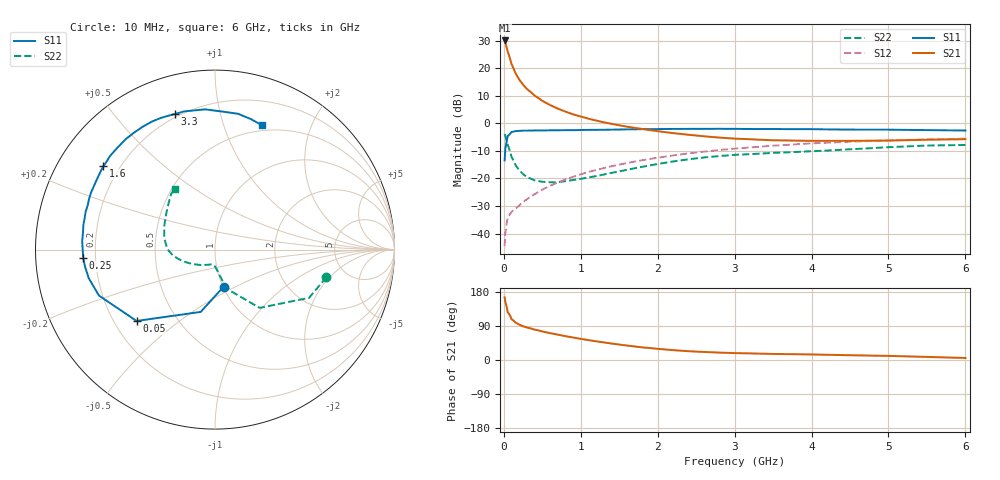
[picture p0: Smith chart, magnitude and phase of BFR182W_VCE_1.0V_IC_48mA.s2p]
! Infineon Technologies  Discrete & RF Semiconductors
! BFR182W
! VCE =  1.0 V,  IC =  48 mA
! Common Emitter S-Parameters:  Jan 2017
# GHz  S  MA  R  50
!  f  S11  S21  S12  S22
! GHz  MAG  ANG  MAG  ANG  MAG  ANG  MAG  ANG
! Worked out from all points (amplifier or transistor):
!   77 points, 10 MHz to 6 GHz, reference 50 ohm
!   highest |S21| = 30.1 dB at 10 MHz (marker M1)
!   |S21| within 3 dB of that: start of sweep to 40.32 MHz
!   unconditionally stable (mu >= 1): start of sweep to 17.4 MHz; 148.1 MHz to end of sweep
!   at 130 MHz: K = 0.92, MSG = 25.6 dB, |S12| = -31.4 dB
!   at 2.2 GHz: K = 1.20, MAG = 1.4 dB, |S12| = -11.7 dB
!   at 6 GHz: K = 1.13, MAG = -2.3 dB, |S12| = -5.6 dB
!   S11 on the Smith chart (normalised r, x): 10 MHz: 1.00, -0.44; 50 MHz: 0.29, -0.36; 250 MHz: 0.15, -0.03; 1.6 GHz: 0.14, +0.33; 3.3 GHz: 0.18, +0.73; 6 GHz: 0.44, +1.35
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0.01  0.2124 -77.1  31.87 165.3  0.0059 58.6  0.6396 -13.9
0.02  0.3561 -102.9  29.51 152.4  0.0103 61.8  0.5889 -27.2
0.05  0.5909 -137.7  20.11 126.1  0.0191 48.0  0.4092 -52.5
0.1  0.6954 -158.4  11.84 107.6  0.0247 44.7  0.2467 -69.3
0.15  0.7212 -167.2  8.203 99.0  0.0283 48.4  0.1767 -76.6
0.2  0.7299 -172.4  6.229 93.4  0.0322 52.9  0.1413 -80.4
0.25  0.736 -176.2  5.024 89.1  0.0374 56.2  0.1198 -83.3
0.3  0.7365 -179.1  4.197 85.8  0.0418 59.4  0.1061 -86.2
0.4  0.7416 176.3  3.181 80.1  0.0518 63.6  0.0922 -90.7
0.5  0.7414 172.7  2.557 75.3  0.0624 65.8  0.087 -95.3
0.6  0.7462 169.3  2.148 70.9  0.0736 67.6  0.0852 -100.9
0.8  0.751 163.6  1.633 62.9  0.0958 68.8  0.0893 -110.3
0.9  0.7508 160.8  1.456 59.3  0.1072 68.8  0.0936 -115.3
1.1  0.76 155.5  1.215 52.5  0.1307 68.6  0.1046 -124.8
1.3  0.7639 150.6  1.043 46.4  0.1537 67.4  0.1179 -133.4
1.6  0.7762 143.2  0.87 38.1  0.19 64.8  0.1432 -145.2
2.1  0.7879 131.4  0.692 27.8  0.2493 59.1  0.1928 -161.1
3.1  0.7908 110.5  0.521 17.8  0.3559 45.7  0.2715 175.6
3.3  0.788 106.5  0.506 16.9  0.3739 42.9  0.2803 171.1
4.1  0.7795 92.5  0.481 14.2  0.4383 32.3  0.3161 152.5
5.1  0.7639 79.1  0.49 10.3  0.4935 20.2  0.3737 132.9
6  0.7403 69.5  0.516 5.3  0.5271 10.8  0.4048 123.3
